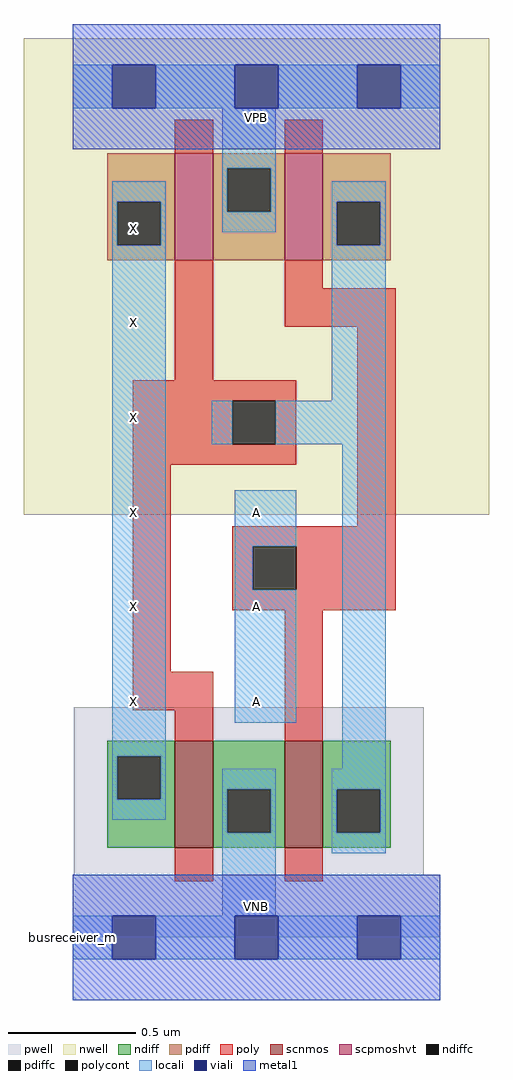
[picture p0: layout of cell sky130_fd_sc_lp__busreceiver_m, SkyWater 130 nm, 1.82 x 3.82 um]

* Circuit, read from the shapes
.subckt sky130_fd_sc_lp__busreceiver_m A VGND VNB VPB VPWR X
XM1 VGND n1 X VNB sky130_fd_pr__nfet_01v8 w=0.42 l=0.15
XM2 n1 A VGND VNB sky130_fd_pr__nfet_01v8 w=0.42 l=0.15
XM3 VPWR n1 X VPB sky130_fd_pr__pfet_01v8_hvt w=0.42 l=0.15
XM4 n1 A VPWR VPB sky130_fd_pr__pfet_01v8_hvt w=0.42 l=0.15
.ends

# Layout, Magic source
magic
tech sky130A
magscale 1 2
<< nwell >>
rect -38 331 326 704
<< pwell >>
rect 1 49 275 180
rect 0 0 288 49
<< scnmos >>
rect 80 70 110 154
rect 166 70 196 154
<< scpmoshvt >>
rect 80 530 110 614
rect 166 530 196 614
<< ndiff >>
rect 27 142 80 154
rect 27 108 35 142
rect 69 108 80 142
rect 27 70 80 108
rect 110 116 166 154
rect 110 82 121 116
rect 155 82 166 116
rect 110 70 166 82
rect 196 116 249 154
rect 196 82 207 116
rect 241 82 249 116
rect 196 70 249 82
<< pdiff >>
rect 27 576 80 614
rect 27 542 35 576
rect 69 542 80 576
rect 27 530 80 542
rect 110 602 166 614
rect 110 568 121 602
rect 155 568 166 602
rect 110 530 166 568
rect 196 576 249 614
rect 196 542 207 576
rect 241 542 249 576
rect 196 530 249 542
<< ndiffc >>
rect 35 108 69 142
rect 121 82 155 116
rect 207 82 241 116
<< pdiffc >>
rect 35 542 69 576
rect 121 568 155 602
rect 207 542 241 576
<< poly >>
rect 80 614 110 640
rect 166 614 196 640
rect 80 436 110 530
rect 166 508 196 530
rect 166 478 253 508
rect 47 420 175 436
rect 47 386 125 420
rect 159 386 175 420
rect 47 370 175 386
rect 47 208 77 370
rect 223 322 253 478
rect 125 306 253 322
rect 125 272 141 306
rect 175 272 253 306
rect 125 256 253 272
rect 47 178 110 208
rect 80 154 110 178
rect 166 154 196 256
rect 80 44 110 70
rect 166 44 196 70
<< polycont >>
rect 125 386 159 420
rect 141 272 175 306
<< locali >>
rect 0 649 31 683
rect 65 649 127 683
rect 161 649 223 683
rect 257 649 288 683
rect 117 602 159 649
rect 31 576 73 592
rect 31 542 35 576
rect 69 542 73 576
rect 117 568 121 602
rect 155 568 159 602
rect 117 552 159 568
rect 203 576 245 592
rect 31 142 73 542
rect 203 542 207 576
rect 241 542 245 576
rect 203 420 245 542
rect 109 386 125 420
rect 159 386 245 420
rect 127 306 175 350
rect 127 272 141 306
rect 127 168 175 272
rect 31 108 35 142
rect 69 108 73 142
rect 211 132 245 386
rect 31 92 73 108
rect 117 116 159 132
rect 117 82 121 116
rect 155 82 159 116
rect 117 17 159 82
rect 203 116 245 132
rect 203 82 207 116
rect 241 82 245 116
rect 203 66 245 82
rect 0 -17 31 17
rect 65 -17 127 17
rect 161 -17 223 17
rect 257 -17 288 17
<< viali >>
rect 31 649 65 683
rect 127 649 161 683
rect 223 649 257 683
rect 31 -17 65 17
rect 127 -17 161 17
rect 223 -17 257 17
<< metal1 >>
rect 0 683 288 715
rect 0 649 31 683
rect 65 649 127 683
rect 161 649 223 683
rect 257 649 288 683
rect 0 617 288 649
rect 0 17 288 49
rect 0 -17 31 17
rect 65 -17 127 17
rect 161 -17 223 17
rect 257 -17 288 17
rect 0 -49 288 -17
<< labels >>
flabel pwell s 0 0 288 49 0 FreeSans 200 0 0 0 VNB
port 3 nsew ground bidirectional
flabel nwell s 0 617 288 666 0 FreeSans 200 0 0 0 VPB
port 4 nsew power bidirectional
rlabel comment s 0 0 0 0 4 busreceiver_m
flabel metal1 s 0 617 288 666 0 FreeSans 340 0 0 0 VPWR
port 5 nsew power bidirectional
flabel metal1 s 0 0 288 49 0 FreeSans 340 0 0 0 VGND
port 2 nsew ground bidirectional
flabel locali s 127 168 161 202 0 FreeSans 340 0 0 0 A
port 1 nsew signal input
flabel locali s 127 242 161 276 0 FreeSans 340 0 0 0 A
port 1 nsew signal input
flabel locali s 127 316 161 350 0 FreeSans 340 0 0 0 A
port 1 nsew signal input
flabel locali s 31 168 65 202 0 FreeSans 340 0 0 0 X
port 6 nsew signal output
flabel locali s 31 242 65 276 0 FreeSans 340 0 0 0 X
port 6 nsew signal output
flabel locali s 31 316 65 350 0 FreeSans 340 0 0 0 X
port 6 nsew signal output
flabel locali s 31 390 65 424 0 FreeSans 340 0 0 0 X
port 6 nsew signal output
flabel locali s 31 464 65 498 0 FreeSans 340 0 0 0 X
port 6 nsew signal output
flabel locali s 31 538 65 572 0 FreeSans 340 0 0 0 X
port 6 nsew signal output
<< properties >>
string LEFsite unit
string LEFclass CORE
string FIXED_BBOX 0 0 288 666
string GDS_FILE $PDKPATH/libs.ref/sky130_fd_sc_lp/gds/sky130_fd_sc_lp.gds
string LEFsymmetry X Y
string GDS_END 2666226
string GDS_START 2662096
<< end >>
